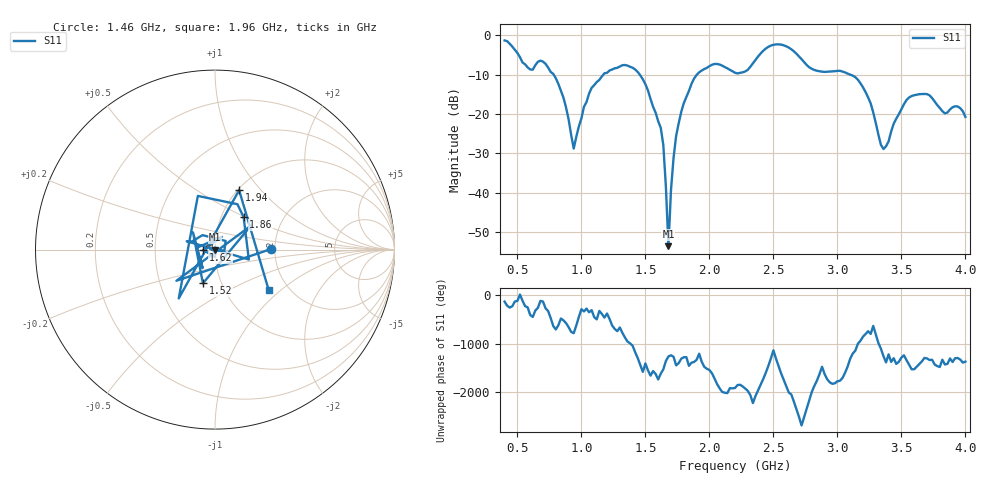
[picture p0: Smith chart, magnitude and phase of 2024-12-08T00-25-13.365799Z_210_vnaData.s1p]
!Created with skrf (http://scikit-rf.org).
# Hz S RI R 50.0
!freq ReS11 ImS11
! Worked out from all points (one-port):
!   181 points, 400 MHz to 4 GHz, reference 50 ohm
!   lowest |S11| = -53.6 dB at 1.68 GHz (marker M1), VSWR 1.00, Z = 49.8 + j0.00917 ohm
!   |S11| at or under -10 dB: 783.9 MHz to 1.171 GHz (387.2 MHz wide, 39.6 % of centre); 1.456 GHz to 1.902 GHz (445.6 MHz wide, 26.5 % of centre); 3.101 GHz to end of sweep
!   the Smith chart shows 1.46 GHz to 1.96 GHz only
!   S11 on the Smith chart (normalised r, x): 1.46 GHz: 1.90, +0.01; 1.52 GHz: 0.82, -0.32; 1.62 GHz: 0.87, -0.00; 1.86 GHz: 1.27, +0.49; 1.94 GHz: 1.02, +0.77; 1.96 GHz: 1.59, -0.82
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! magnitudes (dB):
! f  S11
! 400 MHz  -1.3
! 600 MHz  -8.7
! 720 MHz  -7.2
! 860 MHz  -15.9
! 940 MHz  -28.8
! 1.08 GHz  -13.3
! 1.3 GHz  -7.9
! 1.46 GHz  -10.2
! 1.52 GHz  -14.0
! 1.62 GHz  -23.5
! 1.64 GHz  -27.9
! 1.68 GHz  -53.6
! 1.7 GHz  -39.3
! 1.72 GHz  -31.1
! 1.76 GHz  -22.3
! 1.86 GHz  -12.3
! 1.94 GHz  -8.9
! 1.96 GHz  -8.6
! 2.2 GHz  -9.5
! 2.48 GHz  -2.6
! 2.66 GHz  -4.1
! 2.82 GHz  -8.8
! 3.1 GHz  -10.0
! 3.24 GHz  -15.8
! 3.36 GHz  -28.9
! 3.56 GHz  -15.8
! 3.7 GHz  -14.9
! 4 GHz  -20.7
